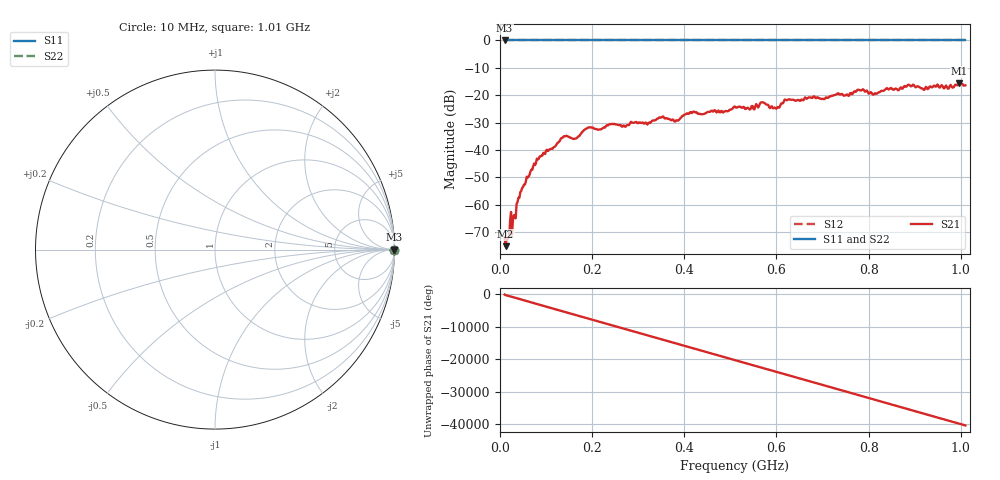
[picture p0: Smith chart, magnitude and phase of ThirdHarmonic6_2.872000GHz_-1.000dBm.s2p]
! 8/17/2025 7:51:15 AM
! C:\ANRITSUVNA\TEMP\TEMP.S2P
! CHANNEL.1
! TR.MEASUREMENT
! RAW.DATA
! RF.CORRECTION.OFF
! AVERAGING.OFF
! IF.BANDWIDTH: 5KHZ
! SWEEPTYPE:  FREQ.SWEEP(Linear)
! Reference Plane Port Info
! PORT:  PORT1  PORT2
! DISTANCE:  0  m  0  m
! TIME:  0  s  0  s
! PHASE.OFFSET:  0  deg.  0  deg.
! LOSS:  0  dB  0  dB
! REF.LOSS:  0  dB  0  dB
! REF.FREQ:  0  Hz  0  Hz
! Power Info
! POWER:  -20  dBm  -20  dBm
! EFF.POWER:  -20  dBm  -20  dBm
! SOURCE.ATTEN:  0  dB  0  dB
! TEST.ATTEN:  0  dB  0  dB
# GHZ S RI R 50.0
! FREQ.GHZ  S11RE  S11IM  S21RE  S21IM  S12RE  S12IM  S22RE  S22IM
!; PortSelection: Port_12
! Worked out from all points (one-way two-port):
!   501 points, 10 MHz to 1.01 GHz, reference 50 ohm
!   highest |S21| = -15.60 dB at 996 MHz (marker M1); lowest = -75.2 dB at 12 MHz (marker M2)
!   lowest |S11| = 0.0 dB at 10 MHz (marker M3)
!   |S11| at or under -10 dB: nowhere
!   |S22| runs from 0.0 to 0.0 dB; largest |S21 - S12| = 1.2
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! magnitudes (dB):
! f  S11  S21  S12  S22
! 10 MHz  0.0  -71.8  0.0  0.0
! 12 MHz  0.0  -75.2  0.0  0.0
! 16 MHz  0.0  -72.7  0.0  0.0
! 26 MHz  0.0  -70.9  0.0  0.0
! 30 MHz  0.0  -63.9  0.0  0.0
! 40 MHz  0.0  -57.5  0.0  0.0
! 48 MHz  0.0  -54.0  0.0  0.0
! 84 MHz  0.0  -43.3  0.0  0.0
! 136 MHz  0.0  -35.5  0.0  0.0
! 162 MHz  0.0  -35.9  0.0  0.0
! 178 MHz  0.0  -33.5  0.0  0.0
! 344 MHz  0.0  -28.4  0.0  0.0
! 382 MHz  0.0  -29.2  0.0  0.0
! 416 MHz  0.0  -26.5  0.0  0.0
! 510 MHz  0.0  -24.2  0.0  0.0
! 570 MHz  0.0  -22.6  0.0  0.0
! 596 MHz  0.0  -24.5  0.0  0.0
! 622 MHz  0.0  -21.9  0.0  0.0
! 678 MHz  0.0  -21.0  0.0  0.0
! 844 MHz  0.0  -17.9  0.0  0.0
! 996 MHz  0.0  -15.6  0.0  0.0
! 1.01 GHz  0.0  -16.4  0.0  0.0
